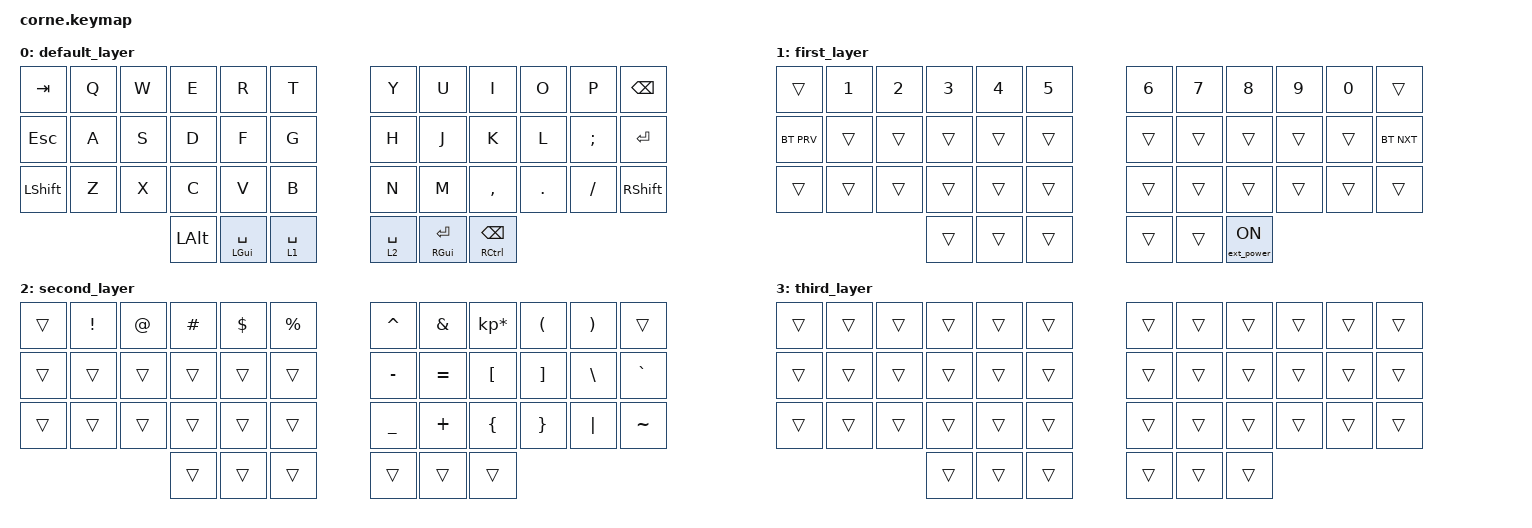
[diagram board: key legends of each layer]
#include <behaviors.dtsi>
#include <dt-bindings/zmk/keys.h>
#include <dt-bindings/zmk/bt.h>
#include <dt-bindings/zmk/ext_power.h>

// Layers
#define DEFAULT 0
#define FIRST   1
#define SECOND  2
#define THIRD   3


/ {
    keymap {
        compatible = "zmk,keymap";
        // -------------------------------------- | --------------------------------------
        // | TAB  |  Q  |  W  |  E  |  R  |  T  |   |  Y  |  U  |  I  |  O  |  P  | BSPC |
        // | ESC  |  A  |  S  |  D  |  F  |  G  |   |  H  |  J  |  K  |  L  |  ;  | ENTR |
        // | SHFT |  Z  |  X  |  C  |  V  |  B  |   |  N  |  M  |  ,  |  .  |  /  | SHFT |
        // -------------| ALT | GUI/SPC | 1/SPC |   | 2/SPC | GUI/ENTR | CTRL/BSPC |------
        default_layer {
            bindings = <
                &kp TAB &kp Q &kp W &kp E &kp R &kp T       &kp Y &kp U &kp I &kp O &kp P &kp BSPC
                &kp ESC &kp A &kp S &kp D &kp F &kp G       &kp H &kp J &kp K &kp L &kp SEMI &kp ENTER
                &kp LSHFT &kp Z &kp X &kp C &kp V &kp B     &kp N &kp M &kp COMMA &kp DOT &kp FSLH &kp RSHFT
                &kp LALT &mt LGUI SPACE &lt 1 SPACE         &lt 2 SPACE &mt RGUI ENTER &mt RCTRL BSPC
            >;
        };
        // ---------------------------------------------------------------------------
        // |     |  1  |  2  |  3  |  4  |  5  ||  6  |  7  |  8  |  9  |  0  |      |
        // | <BT |     |     |     |     |     ||     |     |     |     |     |  BT> |
        // |     |     |     |     |     |     ||     |     |     |     |     |      |
        // ------------------|     |     |     ||     |     | PWR |-------------------
        first_layer {
            bindings = <
                &trans &kp N1 &kp N2 &kp N3 &kp N4 &kp N5       &kp N6 &kp N7 &kp N8 &kp N9 &kp N0 &trans
                &bt BT_PRV &trans &trans &trans &trans &trans   &trans &trans &trans &trans &trans &bt BT_NXT
                &trans &trans &trans &trans &trans &trans       &trans &trans &trans &trans &trans &trans
                &trans &trans &trans                            &trans &trans &ext_power EP_ON
            >;
        };
        // -------------------------------------------------------------------------------
        // |      |  !  |  @  |  #  |  $  |  %  |   |  ^  |  &  |  *  |  (  |  )  |      |
        // |      |     |     |     |     |     |   |  -  |  =  |  [  |  ]  |  \  |  `   |
        // |      |     |     |     |     |     |   |  _  |  +  |  {  |  }  | "|" |  ~   |
        // -------------------|     |     |     |   |     |     |     |-------------------
        second_layer {
            bindings = <
                &trans &kp EXCL &kp AT &kp HASH &kp DLLR &kp PRCNT      &kp CARET &kp AMPS &kp KP_MULTIPLY &kp LPAR &kp RPAR &trans
                &trans &trans &trans &trans &trans &trans               &kp MINUS &kp EQUAL &kp LBKT &kp RBKT &kp BSLH &kp GRAVE
                &trans &trans &trans &trans &trans &trans               &kp UNDER &kp PLUS  &kp LBRC &kp RBRC &kp PIPE &kp TILDE
                &trans &trans &trans                                    &trans &trans &trans
            >;
        };
        // --------------------------------------------------------------------------
        // |     |     |     |     |     |     ||     |     |     |     |     |     |
        // |     |     |     |     |     |     ||     |     |     |     |     |     |
        // |     |     |     |     |     |     ||     |     |     |     |     |     |
        // ------------------|     |     |     ||     |     |     |------------------
        third_layer {
            bindings = <
                &trans &trans &trans &trans &trans &trans   &trans &trans &trans &trans &trans &trans
                &trans &trans &trans &trans &trans &trans   &trans &trans &trans &trans &trans &trans
                &trans &trans &trans &trans &trans &trans   &trans &trans &trans &trans &trans &trans
                &trans &trans &trans                        &trans &trans &trans
            >;
        };
    };
};

 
